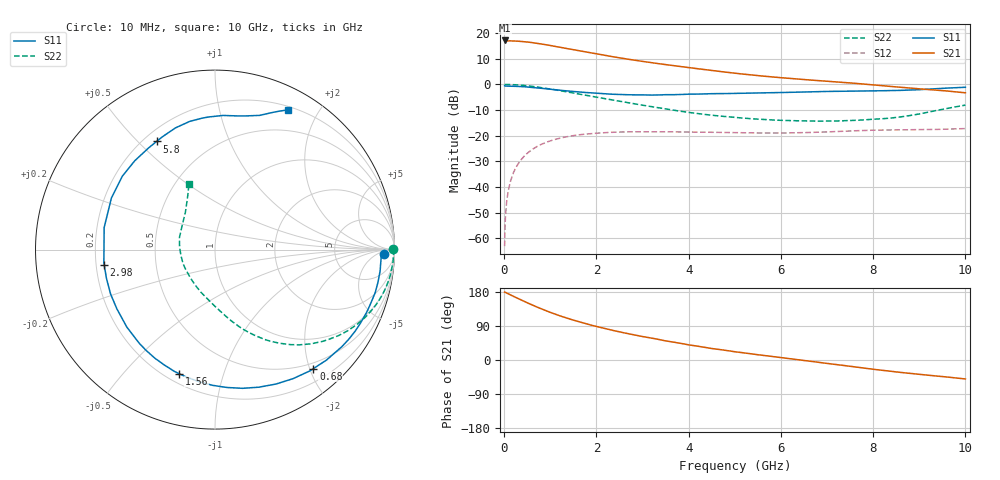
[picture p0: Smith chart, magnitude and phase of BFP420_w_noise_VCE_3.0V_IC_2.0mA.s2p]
! Infineon Technologies  Discrete & RF Semiconductors
! BFP420
! VCE =  3.0 V,  IC =  2.0 mA
! Common Emitter S-Parameters:  Jan 2016
# GHz  S  MA  R  50
!  f  S11  S21  S12  S22
! GHz  MAG  ANG  MAG  ANG  MAG  ANG  MAG  ANG
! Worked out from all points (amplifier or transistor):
!   233 points, 10 MHz to 10 GHz, reference 50 ohm
!   highest |S21| = 17.1 dB at 10 MHz (marker M1)
!   |S21| within 3 dB of that: start of sweep to 1.317 GHz
!   unconditionally stable (mu >= 1): 3.877 GHz to end of sweep
!   at 200 MHz: K = 0.03, MSG = 25.7 dB, |S12| = -34.5 dB
!   at 1.74 GHz: K = 0.36, MSG = 16.1 dB, |S12| = -19.4 dB
!   at 10 GHz: K = 1.22, MAG = 4.2 dB, |S12| = -17.2 dB
!   lowest NFmin = 0.53 dB at 900 MHz
!   S11 on the Smith chart (normalised r, x): 10 MHz: 28, -11; 680 MHz: 0.40, -2.06; 1.56 GHz: 0.25, -0.72; 2.98 GHz: 0.23, -0.06; 5.8 GHz: 0.25, +0.57; 10 GHz: 0.24, +1.62
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0.01  0.9409 -1.4  7.183 179.2  0.0007 71.6  0.9945 0.1
0.025  0.9273 -1.9  6.995 178.7  0.0023 83.6  0.9948 -1.0
0.05  0.9267 -3.7  7.024 177.0  0.0047 86.4  0.9949 -2.0
0.155  0.9257 -11.7  7.045 170.9  0.0146 83.1  0.9902 -6.5
0.3  0.914 -22.7  6.954 162.4  0.0279 77.1  0.9753 -12.5
0.46  0.8956 -34.5  6.76 153.3  0.0419 70.4  0.9484 -18.9
0.68  0.8604 -50.4  6.392 141.4  0.059 61.6  0.898 -27.2
0.82  0.8359 -60.1  6.105 134.2  0.0686 56.4  0.8615 -32.0
1.02  0.8006 -73.6  5.695 124.8  0.0803 49.6  0.8064 -38.4
1.26  0.7612 -88.6  5.197 114.5  0.0915 42.3  0.7404 -45.3
1.56  0.7195 -106.1  4.633 103.1  0.102 34.4  0.6627 -52.7
1.68  0.7042 -112.7  4.429 98.9  0.1052 31.5  0.6339 -55.3
1.9  0.6807 -124.2  4.073 91.5  0.1102 26.7  0.5842 -60.0
2.24  0.65 -140.4  3.604 81.4  0.1152 20.3  0.5163 -66.1
2.98  0.6234 -172.3  2.824 62.4  0.1193 9.1  0.3955 -78.5
3.4  0.6235 172.4  2.497 53.0  0.1189 4.4  0.3425 -85.5
4.4  0.6537 143.9  1.915 32.4  0.1167 -3.5  0.2564 -105.7
5.1  0.6676 130.2  1.615 20.4  0.1142 -6.7  0.223 -121.0
5.8  0.6847 118.4  1.4 9.5  0.1125 -8.3  0.2022 -137.8
6.8  0.7208 103.9  1.185 -5.8  0.1167 -9.5  0.192 -164.1
8.4  0.7559 80.1  0.909 -30.0  0.129 -16.5  0.2213 147.6
10  0.878 62.5  0.685 -50.0  0.1375 -21.6  0.3938 111.6
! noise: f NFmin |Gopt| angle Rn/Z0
0.9  0.53  0.47  33  0.22
1.8  1.03  0.29  77  0.17
2.4  1.13  0.31  102  0.16
3  1.32  0.31  136  0.12
4  1.57  0.37  -168  0.1
5  1.96  0.42  -129  0.28
6  2.72  0.51  -111  0.37
